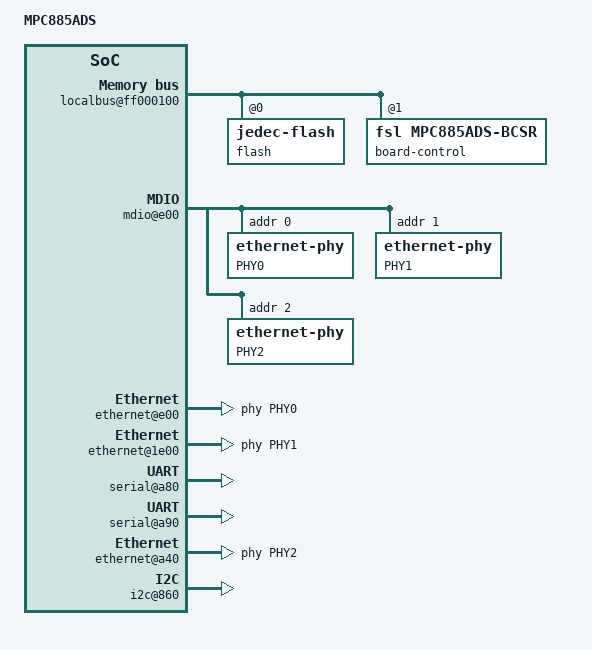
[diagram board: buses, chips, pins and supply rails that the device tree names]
// SPDX-License-Identifier: GPL-2.0-or-later
/*
 * MPC885 ADS Device Tree Source
 *
 * Copyright 2006 MontaVista Software, Inc.
 * Copyright 2007,2008 Freescale Semiconductor, Inc.
 */

/dts-v1/;

/ {
	model = "MPC885ADS";
	compatible = "fsl,mpc885ads";
	#address-cells = <1>;
	#size-cells = <1>;

	cpus {
		#address-cells = <1>;
		#size-cells = <0>;

		PowerPC,885@0 {
			device_type = "cpu";
			reg = <0x0>;
			d-cache-line-size = <16>;
			i-cache-line-size = <16>;
			d-cache-size = <8192>;
			i-cache-size = <8192>;
			timebase-frequency = <0>;
			bus-frequency = <0>;
			clock-frequency = <0>;
			interrupts = <15 2>;	// decrementer interrupt
			interrupt-parent = <&PIC>;
		};
	};

	memory {
		device_type = "memory";
		reg = <0x0 0x0>;
	};

	localbus@ff000100 {
		compatible = "fsl,mpc885-localbus", "fsl,pq1-localbus";
		#address-cells = <2>;
		#size-cells = <1>;
		reg = <0xff000100 0x40>;

		ranges = <
			0x0 0x0 0xfe000000 0x800000
			0x1 0x0 0xff080000 0x8000
			0x5 0x0 0xff0a0000 0x8000
		>;

		flash@0,0 {
			compatible = "jedec-flash";
			reg = <0x0 0x0 0x800000>;
			bank-width = <4>;
			device-width = <1>;
		};

		board-control@1,0 {
			reg = <0x1 0x0 0x20 0x5 0x300 0x4>;
			compatible = "fsl,mpc885ads-bcsr";
		};
	};

	soc@ff000000 {
		compatible = "fsl,mpc885", "fsl,pq1-soc";
		#address-cells = <1>;
		#size-cells = <1>;
		device_type = "soc";
		ranges = <0x0 0xff000000 0x28000>;
		bus-frequency = <0>;

		// Temporary -- will go away once kernel uses ranges for get_immrbase().
		reg = <0xff000000 0x4000>;

		mdio@e00 {
			compatible = "fsl,mpc885-fec-mdio", "fsl,pq1-fec-mdio";
			reg = <0xe00 0x188>;
			#address-cells = <1>;
			#size-cells = <0>;

			PHY0: ethernet-phy@0 {
				reg = <0x0>;
			};

			PHY1: ethernet-phy@1 {
				reg = <0x1>;
			};

			PHY2: ethernet-phy@2 {
				reg = <0x2>;
			};
		};

		ethernet@e00 {
			device_type = "network";
			compatible = "fsl,mpc885-fec-enet",
			             "fsl,pq1-fec-enet";
			reg = <0xe00 0x188>;
			local-mac-address = [ 00 00 00 00 00 00 ];
			interrupts = <3 1>;
			interrupt-parent = <&PIC>;
			phy-handle = <&PHY0>;
			linux,network-index = <0>;
		};

		ethernet@1e00 {
			device_type = "network";
			compatible = "fsl,mpc885-fec-enet",
			             "fsl,pq1-fec-enet";
			reg = <0x1e00 0x188>;
			local-mac-address = [ 00 00 00 00 00 00 ];
			interrupts = <7 1>;
			interrupt-parent = <&PIC>;
			phy-handle = <&PHY1>;
			linux,network-index = <1>;
		};

		PIC: interrupt-controller@0 {
			interrupt-controller;
			#interrupt-cells = <2>;
			reg = <0x0 0x24>;
			compatible = "fsl,mpc885-pic", "fsl,pq1-pic";
		};

		pcmcia@80 {
			#address-cells = <3>;
			#interrupt-cells = <1>;
			#size-cells = <2>;
			compatible = "fsl,pq-pcmcia";
			device_type = "pcmcia";
			reg = <0x80 0x80>;
			interrupt-parent = <&PIC>;
			interrupts = <13 1>;
		};

		cpm@9c0 {
			#address-cells = <1>;
			#size-cells = <1>;
			compatible = "fsl,mpc885-cpm", "fsl,cpm1";
			command-proc = <0x9c0>;
			interrupts = <0>;	// cpm error interrupt
			interrupt-parent = <&CPM_PIC>;
			reg = <0x9c0 0x40>;
			ranges;

			muram@2000 {
				#address-cells = <1>;
				#size-cells = <1>;
				ranges = <0x0 0x2000 0x2000>;

				data@0 {
					compatible = "fsl,cpm-muram-data";
					reg = <0x0 0x1c00>;
				};
			};

			brg@9f0 {
				compatible = "fsl,mpc885-brg",
				             "fsl,cpm1-brg",
				             "fsl,cpm-brg";
				clock-frequency = <0>;
				reg = <0x9f0 0x10>;
			};

			CPM_PIC: interrupt-controller@930 {
				interrupt-controller;
				#interrupt-cells = <1>;
				interrupts = <5 2 0 2>;
				interrupt-parent = <&PIC>;
				reg = <0x930 0x20>;
				compatible = "fsl,mpc885-cpm-pic",
				             "fsl,cpm1-pic";
			};

			serial@a80 {
				device_type = "serial";
				compatible = "fsl,mpc885-smc-uart",
				             "fsl,cpm1-smc-uart";
				reg = <0xa80 0x10 0x3e80 0x40>;
				interrupts = <4>;
				interrupt-parent = <&CPM_PIC>;
				fsl,cpm-brg = <1>;
				fsl,cpm-command = <0x90>;
			};

			serial@a90 {
				device_type = "serial";
				compatible = "fsl,mpc885-smc-uart",
				             "fsl,cpm1-smc-uart";
				reg = <0xa90 0x10 0x3f80 0x40>;
				interrupts = <3>;
				interrupt-parent = <&CPM_PIC>;
				fsl,cpm-brg = <2>;
				fsl,cpm-command = <0xd0>;
			};

			ethernet@a40 {
				device_type = "network";
				compatible = "fsl,mpc885-scc-enet",
				             "fsl,cpm1-scc-enet";
				reg = <0xa40 0x18 0x3e00 0x100>;
				local-mac-address = [ 00 00 00 00 00 00 ];
				interrupts = <28>;
				interrupt-parent = <&CPM_PIC>;
				phy-handle = <&PHY2>;
				fsl,cpm-command = <0x80>;
				linux,network-index = <2>;
			};

			i2c@860 {
				compatible = "fsl,mpc885-i2c",
					     "fsl,cpm1-i2c";
				reg = <0x860 0x20 0x3c80 0x30>;
				interrupts = <16>;
				interrupt-parent = <&CPM_PIC>;
				fsl,cpm-command = <0x10>;
				#address-cells = <1>;
				#size-cells = <0>;
			};
		};

		crypto@20000 {
			compatible = "fsl,sec1.2", "fsl,sec1.0";
			reg = <0x20000 0x8000>;
			interrupts = <1 1>;
			interrupt-parent = <&PIC>;
			fsl,num-channels = <1>;
			fsl,channel-fifo-len = <24>;
			fsl,exec-units-mask = <0x4c>;
			fsl,descriptor-types-mask = <0x05000154>;
		};
	};

	chosen {
		stdout-path = "/soc/cpm/serial@a80";
	};
};
